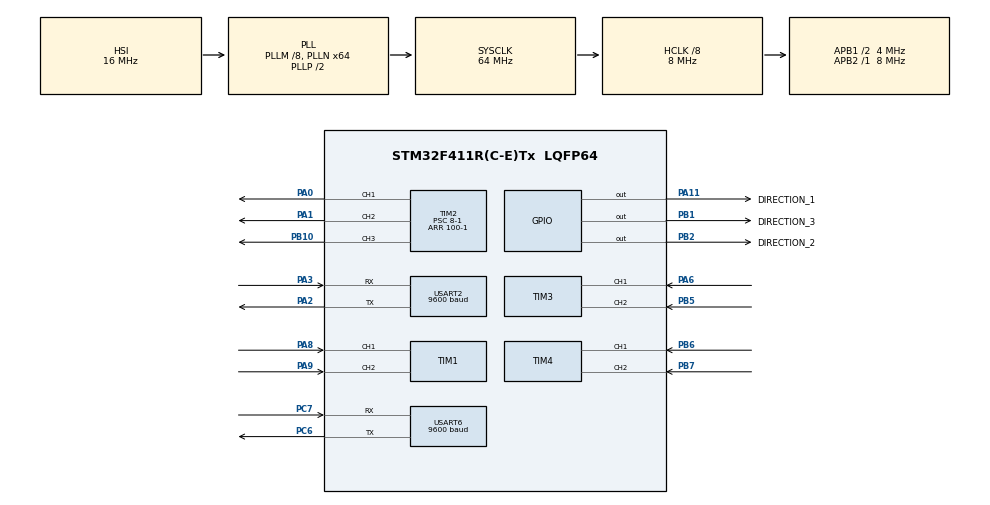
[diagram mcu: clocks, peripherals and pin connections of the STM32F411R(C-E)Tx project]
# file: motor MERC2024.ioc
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FREERTOS.Queues01=button,10,char,0,Dynamic,NULL,NULL
FREERTOS.Tasks01=CONTROL,24,128,StartControl,Default,NULL,Dynamic,NULL,NULL;PID,40,128,StartPID,Default,NULL,Dynamic,NULL,NULL
Mcu.Family=STM32F4
Mcu.Name=STM32F411R(C-E)Tx
Mcu.Package=LQFP64
NVIC.PriorityGroup=NVIC_PRIORITYGROUP_4
NVIC.TIM1_UP_TIM10_IRQn=true\:15\:0\:false\:false\:true\:false\:false\:true\:true
NVIC.TimeBase=TIM1_UP_TIM10_IRQn
NVIC.TimeBaseIP=TIM10
NVIC.USART6_IRQn=true\:5\:0\:true\:false\:true\:true\:true\:true\:true
PA0-WKUP.Signal=S_TIM2_CH1_ETR
PA1.Signal=S_TIM2_CH2
PA11.GPIO_Label=DIRECTION_1
PA11.Signal=GPIO_Output
PA13.Mode=Serial_Wire
PA13.Signal=SYS_JTMS-SWDIO
PA14.Mode=Serial_Wire
PA14.Signal=SYS_JTCK-SWCLK
PA2.GPIO_PuPd=GPIO_NOPULL
PA2.Mode=Asynchronous
PA2.Signal=USART2_TX
PA3.GPIO_PuPd=GPIO_NOPULL
PA3.Mode=Asynchronous
PA3.Signal=USART2_RX
PA6.GPIO_ModeDefaultPP=GPIO_MODE_AF_PP
PA6.Signal=S_TIM3_CH1
PA8.GPIO_ModeDefaultPP=GPIO_MODE_AF_PP
PA8.GPIO_PuPd=GPIO_NOPULL
PA8.GPIO_Speed=GPIO_SPEED_FREQ_LOW
PA8.Signal=S_TIM1_CH1
PA9.GPIO_ModeDefaultPP=GPIO_MODE_AF_PP
PA9.GPIO_PuPd=GPIO_NOPULL
PA9.GPIO_Speed=GPIO_SPEED_FREQ_LOW
PA9.Signal=S_TIM1_CH2
PB1.GPIO_Label=DIRECTION_3
PB1.Signal=GPIO_Output
PB10.Signal=S_TIM2_CH3
PB2.GPIO_Label=DIRECTION_2
PB2.Signal=GPIO_Output
PB5.GPIO_ModeDefaultPP=GPIO_MODE_AF_PP
PB5.Signal=S_TIM3_CH2
PB6.GPIO_ModeDefaultPP=GPIO_MODE_AF_PP
PB6.Signal=S_TIM4_CH1
PB7.GPIO_ModeDefaultPP=GPIO_MODE_AF_PP
PB7.Signal=S_TIM4_CH2
PC6.Mode=Asynchronous
PC6.Signal=USART6_TX
PC7.Mode=Asynchronous
PC7.Signal=USART6_RX
PH0\ -\ OSC_IN.Mode=HSE-External-Oscillator
PH0\ -\ OSC_IN.Signal=RCC_OSC_IN
PH1\ -\ OSC_OUT.Mode=HSE-External-Oscillator
PH1\ -\ OSC_OUT.Signal=RCC_OSC_OUT
ProjectManager.HeapSize=0x200
ProjectManager.StackSize=0x400
ProjectManager.TargetToolchain=STM32CubeIDE
RCC.48MHZClocksFreq_Value=32000000
RCC.AHBCLKDivider=RCC_SYSCLK_DIV8
RCC.AHBFreq_Value=8000000
RCC.APB1CLKDivider=RCC_HCLK_DIV2
RCC.APB1Freq_Value=4000000
RCC.APB1TimFreq_Value=8000000
RCC.APB2Freq_Value=8000000
RCC.APB2TimFreq_Value=8000000
RCC.CortexFreq_Value=8000000
RCC.HCLKFreq_Value=8000000
RCC.HSE_VALUE=8000000
RCC.HSI_VALUE=16000000
RCC.LSE_VALUE=32768
RCC.PLLM=8
RCC.PLLN=64
RCC.SYSCLKFreq_VALUE=64000000
RCC.SYSCLKSource=RCC_SYSCLKSOURCE_PLLCLK
RCC.VCOOutputFreq_Value=128000000
SH.S_TIM1_CH1.0=TIM1_CH1,Encoder_Interface
SH.S_TIM1_CH2.0=TIM1_CH2,Encoder_Interface
SH.S_TIM2_CH1_ETR.0=TIM2_CH1,PWM Generation1 CH1
SH.S_TIM2_CH2.0=TIM2_CH2,PWM Generation2 CH2
SH.S_TIM2_CH3.0=TIM2_CH3,PWM Generation3 CH3
SH.S_TIM3_CH1.0=TIM3_CH1,Encoder_Interface
SH.S_TIM3_CH2.0=TIM3_CH2,Encoder_Interface
SH.S_TIM4_CH1.0=TIM4_CH1,Encoder_Interface
SH.S_TIM4_CH2.0=TIM4_CH2,Encoder_Interface
TIM1.EncoderMode=TIM_ENCODERMODE_TI12
TIM2.Channel-PWM\ Generation1\ CH1=TIM_CHANNEL_1
TIM2.Channel-PWM\ Generation2\ CH2=TIM_CHANNEL_2
TIM2.Channel-PWM\ Generation3\ CH3=TIM_CHANNEL_3
TIM2.Period=100-1
TIM2.Prescaler=8-1
TIM3.EncoderMode=TIM_ENCODERMODE_TI12
TIM4.EncoderMode=TIM_ENCODERMODE_TI12
USART2.BaudRate=9600
USART2.VirtualMode=VM_ASYNC
USART6.BaudRate=9600
USART6.VirtualMode=VM_ASYNC
VP_FREERTOS_VS_CMSIS_V2.Mode=CMSIS_V2
VP_SYS_VS_tim10.Mode=TIM10
VP_TIM2_VS_ClockSourceINT.Mode=Internal
board=custom

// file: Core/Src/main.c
/* USER CODE BEGIN Header */
/**
  ******************************************************************************
  * @file           : main.c
  * @brief          : Main program body
  ******************************************************************************
  * @attention
  *
  * Copyright (c) 2024 STMicroelectronics.
  * All rights reserved.
  *
  * This software is licensed under terms that can be found in the LICENSE file
  * in the root directory of this software component.
  * If no LICENSE file comes with this software, it is provided AS-IS.
  *
  ******************************************************************************
  */
/* USER CODE END Header */
#include "main.h"
#include "cmsis_os.h"

TIM_HandleTypeDef htim1;
TIM_HandleTypeDef htim2;
TIM_HandleTypeDef htim3;
TIM_HandleTypeDef htim4;

UART_HandleTypeDef huart2;
UART_HandleTypeDef huart6;

/* Definitions for CONTROL */
osThreadId_t CONTROLHandle;
const osThreadAttr_t CONTROL_attributes = {
  .name = "CONTROL",
  .stack_size = 128 * 4,
  .priority = (osPriority_t) osPriorityNormal,
};
/* Definitions for PID */
osThreadId_t PIDHandle;
const osThreadAttr_t PID_attributes = {
  .name = "PID",
  .stack_size = 128 * 4,
  .priority = (osPriority_t) osPriorityHigh,
};
/* Definitions for button */
osMessageQueueId_t buttonHandle;
const osMessageQueueAttr_t button_attributes = {
  .name = "button"
};

void SystemClock_Config(void);
static void MX_GPIO_Init(void);
static void MX_TIM3_Init(void);
static void MX_TIM2_Init(void);
static void MX_TIM1_Init(void);
static void MX_USART2_UART_Init(void);
static void MX_TIM4_Init(void);
static void MX_USART6_UART_Init(void);
void StartControl(void *argument);
void StartPID(void *argument);

/* USER CODE BEGIN 0 */

PID_Param_t pid;
double out_1, out_2, out_3=0;
double rpm_1, rpm_2, rpm_3=0;
uint8_t rx_data;

#ifdef __GNUC__
#define PUTCHAR_PROTOTYPE int __io_putchar(int ch)
#else
#define PUTCHAR_PROTOTYPE int fputc(int ch, FILE *f)
#endif

PUTCHAR_PROTOTYPE
{
  HAL_UART_Transmit(&huart2, (uint8_t *)&ch, 1, HAL_MAX_DELAY);
  return ch;
}
void pid_config(void){
	pid.Kp=0.3;
	pid.Ki=0.2;
	pid.Kd=0.005;
	pid.target_val_1=V1;
	pid.target_val_2=V2;
	pid.target_val_3=V3;
	PID_init(&pid);
}
void HAL_UART_RxCpltCallback(UART_HandleTypeDef *huart){

	if(huart->Instance == USART6){
		HAL_UART_Transmit(&huart2,&rx_data,sizeof(rx_data), 100);
		HAL_UART_Receive_IT(&huart6, &rx_data, 1);
	}
}
/* USER CODE END 0 */

int main(void)
{

  /* MCU Configuration--------------------------------------------------------*/

  /* Reset of all peripherals, Initializes the Flash interface and the Systick. */
  HAL_Init();

  /* USER CODE BEGIN Init */
  //init_State();
  /* USER CODE END Init */

  /* Configure the system clock */
  SystemClock_Config();

  /* Initialize all configured peripherals */
  MX_GPIO_Init();
  MX_TIM3_Init();
  MX_TIM2_Init();
  MX_TIM1_Init();
  MX_USART2_UART_Init();
  MX_TIM4_Init();
  MX_USART6_UART_Init();
  /* USER CODE BEGIN 2 */

  memset(buffer, 0, sizeof(buffer));
  __HAL_UART_ENABLE_IT(&huart6, UART_IT_RXNE);

  systick_init_ms(8000000);
	__HAL_TIM_SetCompare(&htim2, TIM_CHANNEL_1, 100);
	__HAL_TIM_SetCompare(&htim2, TIM_CHANNEL_2, 100); //motor 2
	__HAL_TIM_SetCompare(&htim2, TIM_CHANNEL_3, 100); //motor 3

	HAL_GPIO_WritePin(DIRECTION_1_GPIO_Port, DIRECTION_1_Pin, GPIO_PIN_RESET);
	HAL_GPIO_WritePin(DIRECTION_2_GPIO_Port, DIRECTION_2_Pin, GPIO_PIN_RESET);
	HAL_GPIO_WritePin(DIRECTION_3_GPIO_Port, DIRECTION_3_Pin, GPIO_PIN_RESET);

  HAL_TIM_PWM_Start(&htim2, TIM_CHANNEL_1);
  HAL_TIM_PWM_Start(&htim2, TIM_CHANNEL_2);
  HAL_TIM_PWM_Start(&htim2, TIM_CHANNEL_3);

  HAL_TIM_Encoder_Start(&htim1, TIM_CHANNEL_1 | TIM_CHANNEL_2);
  HAL_TIM_Encoder_Start(&htim3, TIM_CHANNEL_1 | TIM_CHANNEL_2);
  HAL_TIM_Encoder_Start(&htim4, TIM_CHANNEL_1 | TIM_CHANNEL_2);

//  button_event_queue =  xQueueCreate(10, sizeof(button_event_t));
//  mutex_isr = xSemaphoreCreateMutex();
//

  /* USER CODE END 2 */

  /* Init scheduler */
  osKernelInitialize();

  /* Create the queue(s) */
  /* creation of button */
  buttonHandle = osMessageQueueNew (10, sizeof(char), &button_attributes);

  /* Create the thread(s) */
  /* creation of CONTROL */
  CONTROLHandle = osThreadNew(StartControl, NULL, &CONTROL_attributes);

  /* creation of PID */
  PIDHandle = osThreadNew(StartPID, NULL, &PID_attributes);

  /* Start scheduler */
  osKernelStart();

  /* We should never get here as control is now taken by the scheduler */
  /* Infinite loop */
  /* USER CODE BEGIN WHILE */

  /*
   * max is 1m/s
   */
//  HAL_Delay(1000);
//  Robot_Move(1, 225, 0);

  while (1)
  {
//	  PID();
    /* USER CODE END WHILE */

  }
}

void SystemClock_Config(void)
{
  RCC_OscInitTypeDef RCC_OscInitStruct = {0};
  RCC_ClkInitTypeDef RCC_ClkInitStruct = {0};

  /** Configure the main internal regulator output voltage
  */
  __HAL_RCC_PWR_CLK_ENABLE();
  __HAL_PWR_VOLTAGESCALING_CONFIG(PWR_REGULATOR_VOLTAGE_SCALE1);

  /** Initializes the RCC Oscillators according to the specified parameters
  * in the RCC_OscInitTypeDef structure.
  */
  RCC_OscInitStruct.OscillatorType = RCC_OSCILLATORTYPE_HSI;
  RCC_OscInitStruct.HSIState = RCC_HSI_ON;
  RCC_OscInitStruct.HSICalibrationValue = RCC_HSICALIBRATION_DEFAULT;
  RCC_OscInitStruct.PLL.PLLState = RCC_PLL_ON;
  RCC_OscInitStruct.PLL.PLLSource = RCC_PLLSOURCE_HSI;
  RCC_OscInitStruct.PLL.PLLM = 8;
  RCC_OscInitStruct.PLL.PLLN = 64;
  RCC_OscInitStruct.PLL.PLLP = RCC_PLLP_DIV2;
  RCC_OscInitStruct.PLL.PLLQ = 4;
  if (HAL_RCC_OscConfig(&RCC_OscInitStruct) != HAL_OK)
  {
    Error_Handler();
  }

  /** Initializes the CPU, AHB and APB buses clocks
  */
  RCC_ClkInitStruct.ClockType = RCC_CLOCKTYPE_HCLK|RCC_CLOCKTYPE_SYSCLK
                              |RCC_CLOCKTYPE_PCLK1|RCC_CLOCKTYPE_PCLK2;
  RCC_ClkInitStruct.SYSCLKSource = RCC_SYSCLKSOURCE_PLLCLK;
  RCC_ClkInitStruct.AHBCLKDivider = RCC_SYSCLK_DIV8;
  RCC_ClkInitStruct.APB1CLKDivider = RCC_HCLK_DIV2;
  RCC_ClkInitStruct.APB2CLKDivider = RCC_HCLK_DIV1;

  if (HAL_RCC_ClockConfig(&RCC_ClkInitStruct, FLASH_LATENCY_0) != HAL_OK)
  {
    Error_Handler();
  }
}

static void MX_TIM1_Init(void)
{

  TIM_Encoder_InitTypeDef sConfig = {0};
  TIM_MasterConfigTypeDef sMasterConfig = {0};

  htim1.Instance = TIM1;
  htim1.Init.Prescaler = 0;
  htim1.Init.CounterMode = TIM_COUNTERMODE_UP;
  htim1.Init.Period = 65535;
  htim1.Init.ClockDivision = TIM_CLOCKDIVISION_DIV1;
  htim1.Init.RepetitionCounter = 0;
  htim1.Init.AutoReloadPreload = TIM_AUTORELOAD_PRELOAD_DISABLE;
  sConfig.EncoderMode = TIM_ENCODERMODE_TI12;
  sConfig.IC1Polarity = TIM_ICPOLARITY_RISING;
  sConfig.IC1Selection = TIM_ICSELECTION_DIRECTTI;
  sConfig.IC1Prescaler = TIM_ICPSC_DIV1;
  sConfig.IC1Filter = 0;
  sConfig.IC2Polarity = TIM_ICPOLARITY_RISING;
  sConfig.IC2Selection = TIM_ICSELECTION_DIRECTTI;
  sConfig.IC2Prescaler = TIM_ICPSC_DIV1;
  sConfig.IC2Filter = 0;
  if (HAL_TIM_Encoder_Init(&htim1, &sConfig) != HAL_OK)
  {
    Error_Handler();
  }
  sMasterConfig.MasterOutputTrigger = TIM_TRGO_RESET;
  sMasterConfig.MasterSlaveMode = TIM_MASTERSLAVEMODE_DISABLE;
  if (HAL_TIMEx_MasterConfigSynchronization(&htim1, &sMasterConfig) != HAL_OK)
  {
    Error_Handler();
  }

}

static void MX_TIM2_Init(void)
{

  TIM_ClockConfigTypeDef sClockSourceConfig = {0};
  TIM_MasterConfigTypeDef sMasterConfig = {0};
  TIM_OC_InitTypeDef sConfigOC = {0};

  htim2.Instance = TIM2;
  htim2.Init.Prescaler = 8-1;
  htim2.Init.CounterMode = TIM_COUNTERMODE_UP;
  htim2.Init.Period = 100-1;
  htim2.Init.ClockDivision = TIM_CLOCKDIVISION_DIV1;
  htim2.Init.AutoReloadPreload = TIM_AUTORELOAD_PRELOAD_DISABLE;
  if (HAL_TIM_Base_Init(&htim2) != HAL_OK)
  {
    Error_Handler();
  }
  sClockSourceConfig.ClockSource = TIM_CLOCKSOURCE_INTERNAL;
  if (HAL_TIM_ConfigClockSource(&htim2, &sClockSourceConfig) != HAL_OK)
  {
    Error_Handler();
  }
  if (HAL_TIM_PWM_Init(&htim2) != HAL_OK)
  {
    Error_Handler();
  }
  sMasterConfig.MasterOutputTrigger = TIM_TRGO_RESET;
  sMasterConfig.MasterSlaveMode = TIM_MASTERSLAVEMODE_DISABLE;
  if (HAL_TIMEx_MasterConfigSynchronization(&htim2, &sMasterConfig) != HAL_OK)
  {
    Error_Handler();
  }
  sConfigOC.OCMode = TIM_OCMODE_PWM1;
  sConfigOC.Pulse = 0;
  sConfigOC.OCPolarity = TIM_OCPOLARITY_HIGH;
  sConfigOC.OCFastMode = TIM_OCFAST_DISABLE;
  if (HAL_TIM_PWM_ConfigChannel(&htim2, &sConfigOC, TIM_CHANNEL_1) != HAL_OK)
  {
    Error_Handler();
  }
  if (HAL_TIM_PWM_ConfigChannel(&htim2, &sConfigOC, TIM_CHANNEL_2) != HAL_OK)
  {
    Error_Handler();
  }
  if (HAL_TIM_PWM_ConfigChannel(&htim2, &sConfigOC, TIM_CHANNEL_3) != HAL_OK)
  {
    Error_Handler();
  }
  HAL_TIM_MspPostInit(&htim2);

}

static void MX_TIM3_Init(void)
{

  TIM_Encoder_InitTypeDef sConfig = {0};
  TIM_MasterConfigTypeDef sMasterConfig = {0};

  htim3.Instance = TIM3;
  htim3.Init.Prescaler = 0;
  htim3.Init.CounterMode = TIM_COUNTERMODE_UP;
  htim3.Init.Period = 65535;
  htim3.Init.ClockDivision = TIM_CLOCKDIVISION_DIV1;
  htim3.Init.AutoReloadPreload = TIM_AUTORELOAD_PRELOAD_DISABLE;
  sConfig.EncoderMode = TIM_ENCODERMODE_TI12;
  sConfig.IC1Polarity = TIM_ICPOLARITY_RISING;
  sConfig.IC1Selection = TIM_ICSELECTION_DIRECTTI;
  sConfig.IC1Prescaler = TIM_ICPSC_DIV1;
  sConfig.IC1Filter = 0;
  sConfig.IC2Polarity = TIM_ICPOLARITY_RISING;
  sConfig.IC2Selection = TIM_ICSELECTION_DIRECTTI;
  sConfig.IC2Prescaler = TIM_ICPSC_DIV1;
  sConfig.IC2Filter = 0;
  if (HAL_TIM_Encoder_Init(&htim3, &sConfig) != HAL_OK)
  {
    Error_Handler();
  }
  sMasterConfig.MasterOutputTrigger = TIM_TRGO_RESET;
  sMasterConfig.MasterSlaveMode = TIM_MASTERSLAVEMODE_DISABLE;
  if (HAL_TIMEx_MasterConfigSynchronization(&htim3, &sMasterConfig) != HAL_OK)
  {
    Error_Handler();
  }

}

static void MX_TIM4_Init(void)
{

  TIM_Encoder_InitTypeDef sConfig = {0};
  TIM_MasterConfigTypeDef sMasterConfig = {0};

  htim4.Instance = TIM4;
  htim4.Init.Prescaler = 0;
  htim4.Init.CounterMode = TIM_COUNTERMODE_UP;
  htim4.Init.Period = 65535;
  htim4.Init.ClockDivision = TIM_CLOCKDIVISION_DIV1;
  htim4.Init.AutoReloadPreload = TIM_AUTORELOAD_PRELOAD_DISABLE;
  sConfig.EncoderMode = TIM_ENCODERMODE_TI12;
  sConfig.IC1Polarity = TIM_ICPOLARITY_RISING;
  sConfig.IC1Selection = TIM_ICSELECTION_DIRECTTI;
  sConfig.IC1Prescaler = TIM_ICPSC_DIV1;
  sConfig.IC1Filter = 0;
  sConfig.IC2Polarity = TIM_ICPOLARITY_RISING;
  sConfig.IC2Selection = TIM_ICSELECTION_DIRECTTI;
  sConfig.IC2Prescaler = TIM_ICPSC_DIV1;
  sConfig.IC2Filter = 0;
  if (HAL_TIM_Encoder_Init(&htim4, &sConfig) != HAL_OK)
  {
    Error_Handler();
  }
  sMasterConfig.MasterOutputTrigger = TIM_TRGO_RESET;
  sMasterConfig.MasterSlaveMode = TIM_MASTERSLAVEMODE_DISABLE;
  if (HAL_TIMEx_MasterConfigSynchronization(&htim4, &sMasterConfig) != HAL_OK)
  {
    Error_Handler();
  }

}

static void MX_USART2_UART_Init(void)
{

  huart2.Instance = USART2;
  huart2.Init.BaudRate = 9600;
  huart2.Init.WordLength = UART_WORDLENGTH_8B;
  huart2.Init.StopBits = UART_STOPBITS_1;
  huart2.Init.Parity = UART_PARITY_NONE;
  huart2.Init.Mode = UART_MODE_TX_RX;
  huart2.Init.HwFlowCtl = UART_HWCONTROL_NONE;
  huart2.Init.OverSampling = UART_OVERSAMPLING_16;
  if (HAL_UART_Init(&huart2) != HAL_OK)
  {
    Error_Handler();
  }

}

static void MX_USART6_UART_Init(void)
{

  huart6.Instance = USART6;
  huart6.Init.BaudRate = 9600;
  huart6.Init.WordLength = UART_WORDLENGTH_8B;
  huart6.Init.StopBits = UART_STOPBITS_1;
  huart6.Init.Parity = UART_PARITY_NONE;
  huart6.Init.Mode = UART_MODE_TX_RX;
  huart6.Init.HwFlowCtl = UART_HWCONTROL_NONE;
  huart6.Init.OverSampling = UART_OVERSAMPLING_16;
  if (HAL_UART_Init(&huart6) != HAL_OK)
  {
    Error_Handler();
  }

}

static void MX_GPIO_Init(void)
{
  GPIO_InitTypeDef GPIO_InitStruct = {0};

  /* GPIO Ports Clock Enable */
  __HAL_RCC_GPIOH_CLK_ENABLE();
  __HAL_RCC_GPIOA_CLK_ENABLE();
  __HAL_RCC_GPIOB_CLK_ENABLE();
  __HAL_RCC_GPIOC_CLK_ENABLE();

  /*Configure GPIO pin Output Level */
  HAL_GPIO_WritePin(GPIOB, DIRECTION_3_Pin|DIRECTION_2_Pin, GPIO_PIN_RESET);

  /*Configure GPIO pin Output Level */
  HAL_GPIO_WritePin(DIRECTION_1_GPIO_Port, DIRECTION_1_Pin, GPIO_PIN_RESET);

  /*Configure GPIO pins : DIRECTION_3_Pin DIRECTION_2_Pin */
  GPIO_InitStruct.Pin = DIRECTION_3_Pin|DIRECTION_2_Pin;
  GPIO_InitStruct.Mode = GPIO_MODE_OUTPUT_PP;
  GPIO_InitStruct.Pull = GPIO_NOPULL;
  GPIO_InitStruct.Speed = GPIO_SPEED_FREQ_LOW;
  HAL_GPIO_Init(GPIOB, &GPIO_InitStruct);

  /*Configure GPIO pin : DIRECTION_1_Pin */
  GPIO_InitStruct.Pin = DIRECTION_1_Pin;
  GPIO_InitStruct.Mode = GPIO_MODE_OUTPUT_PP;
  GPIO_InitStruct.Pull = GPIO_NOPULL;
  GPIO_InitStruct.Speed = GPIO_SPEED_FREQ_LOW;
  HAL_GPIO_Init(DIRECTION_1_GPIO_Port, &GPIO_InitStruct);

}

void StartControl(void *argument)
{
  /* USER CODE BEGIN 5 */
//	MSGQUEUE_OBJ_t msg;
//	osStatus_t status;
  /* Infinite loop */
  for(;;)
  {
//	  PID();
//	status = osMessageQueueGet(buttonHandle, &msg, NULL, 0);   // wait for message
//	if (status == osOK) {
//	  printf("msg is: %c \r\n",msg.buffer[0]); // process data
//		switch (msg.buffer[0]){
//		case 'B':
//			Robot_Move(0.3, 0, 0);
//			break;
//		case 'F':
//			Robot_Move(0.3, 180, 0);
//			break;
//		case 'R':
//			Robot_Move(0.3, 270, 0);
//			break;
//		case 'L':
//			Robot_Move(0.3, 90, 0);
//			break;
//		case 'O':
//			Robot_Move(0, 0, 0.3);
//			break;
//		case '0':
//			Robot_Move(0, 0, 0);
//			break;
//		default:
////			printf("ghet anh");
//			break;
//		}
//	}
    osDelay(100);
  }

  /* USER CODE END 5 */
}

void StartPID(void *argument)
{
  /* USER CODE BEGIN StartPID */
  /* Infinite loop */
  for(;;)
  {
//	  	printf("V1= %.2f rpm \t V2= %.2f rpm \t V3= %.2f rpm \r\n", V1,V2,V3);

	  	rpm_1=get_rpm(MOTOR_1);
	  	rpm_2=get_rpm(MOTOR_2);
	  	rpm_3=get_rpm(MOTOR_3);

	  	out_1=PID_Calculation(MOTOR_1, rpm_1);
	  	out_2=PID_Calculation(MOTOR_2, rpm_2);
	  	out_3=PID_Calculation(MOTOR_3, rpm_3);

	  	set_duty_cycle(MOTOR_1, out_1);
	  	set_duty_cycle(MOTOR_2, out_2);
	  	set_duty_cycle(MOTOR_3, out_3);

//	  	printf("out_1: %f \t out_2: %f \t out_3: %f \r \n",out_1,out_2,out_3);
	  	printf("rpm_1: %.2f \t rpm_2: %.2f \t rpm_3: %.2f \r \n \r\n", rpm_1, rpm_2, rpm_3);
//    osDelay(100);
  }
  /* USER CODE END StartPID */
}

void HAL_TIM_PeriodElapsedCallback(TIM_HandleTypeDef *htim)
{
  if (htim->Instance == TIM10) {
    HAL_IncTick();
  }
}

void Error_Handler(void)
{
  __disable_irq();
  while (1)
  {
  }
}
